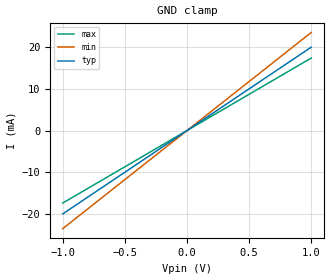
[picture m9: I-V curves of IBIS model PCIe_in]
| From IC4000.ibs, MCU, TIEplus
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[Model] PCIe_in
Model_type  Input
Vinl=0.4
Vinh=0.6
| variable   typ   min   max
C_comp   0.0pF   0.0pF   0.0pF
[Temperature Range]   20   20   20
[Voltage range]   1.0   1.0   1.0
[GND Clamp]
|   Voltage   I(typ)   I(min)   I(max)
-1V       -20mA      -23.53mA   -17.39mA
0V        0A         0A         0A
1V        20mA       23.53mA    17.39mA
